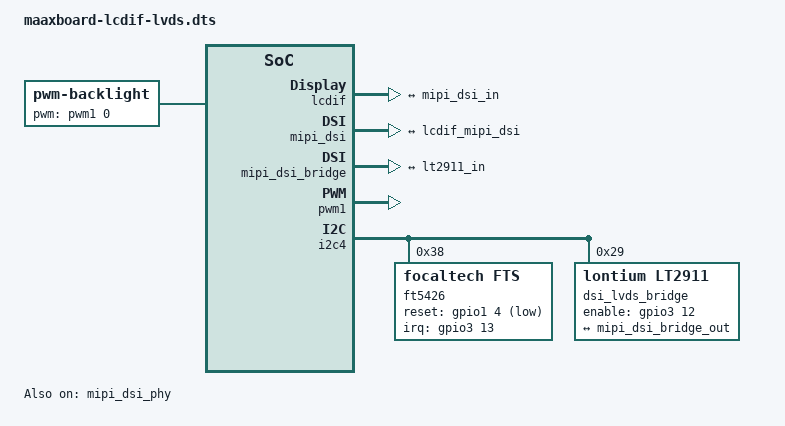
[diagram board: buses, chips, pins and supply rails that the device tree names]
/*
 * Copyright 2019 EMBEST
 *
 * This program is free software; you can redistribute it and/or
 * modify it under the terms of the GNU General Public License
 * as published by the Free Software Foundation; either version 2
 * of the License, or (at your option) any later version.
 *
 * This program is distributed in the hope that it will be useful,
 * but WITHOUT ANY WARRANTY; without even the implied warranty of
 * MERCHANTABILITY or FITNESS FOR A PARTICULAR PURPOSE.  See the
 * GNU General Public License for more details.
 */

#include "maaxboard.dtsi"
#include "maaxboard-extended-gpio.dtsi"

/ {
	display-subsystem {
		status = "disabled";
	};
	sound-hdmi {
		status = "disabled";
	};

	backlight: backlight {
		compatible = "pwm-backlight";
		pwms = <&pwm1 0 40000 0>;
		brightness-levels = <0 8 32 64 96 128 160 192 224 255>;
		default-brightness-level = <8>;
		status = "disabled";
	};
};

&irqsteer_dcss {
	status = "disabled";
};

&dcss {
	status = "disabled";
};

&hdmi {
	status = "disabled";
};

&iomuxc {
	imx8mq-evk {
		pinctrl_mipi_dsi_en: mipi_dsi_en {
			fsl,pins = <
				MX8MQ_IOMUXC_NAND_DATA06_GPIO3_IO12		0x16  /* DSI_EN */
			>;
		};

		pinctrl_ts_ft5426: ft5426_pinsgrp {
			fsl,pins = <
				MX8MQ_IOMUXC_NAND_DATA07_GPIO3_IO13		0x19  /* DSI_TS_nINT */
				MX8MQ_IOMUXC_GPIO1_IO04_GPIO1_IO4		0x19  /* DSI_TS_RST  */
			>;
		};

		pinctrl_pwm1: pwm1_grp {
			fsl,pins = <
				MX8MQ_IOMUXC_GPIO1_IO01_PWM1_OUT		0x06
			>;
		};
	};
};

&lcdif {
	status = "okay";
	max-res = <1024>, <600>;

	assigned-clocks = <&clk IMX8MQ_CLK_LCDIF_PIXEL>,
	 		<&clk IMX8MQ_VIDEO_PLL1_BYPASS>,
			  <&clk IMX8MQ_VIDEO_PLL1_REF_SEL>,
			  <&clk IMX8MQ_VIDEO_PLL1>;
	assigned-clock-parents = <&clk IMX8MQ_VIDEO_PLL1_OUT>,
				 <&clk IMX8MQ_CLK_25M>;
	assigned-clock-rates = <266000000>,
			       <0>,
			       <599999999>;
	
	port@0 {
		lcdif_mipi_dsi: mipi-dsi-endpoint {
			remote-endpoint = <&mipi_dsi_in>;
		};
	};
};

&mipi_dsi_phy {
	status = "okay";
};

&mipi_dsi {
	status = "okay";
	as_bridge;
	sync-pol = <1>;
	pwr-delay = <10>;
	
	assigned-clocks = <&clk IMX8MQ_CLK_DSI_PHY_REF>,
			  <&clk IMX8MQ_CLK_DSI_CORE>,
			  <&clk IMX8MQ_VIDEO_PLL1_REF_SEL>,
			  <&clk IMX8MQ_VIDEO_PLL1>;
	assigned-clock-parents = <&clk IMX8MQ_VIDEO_PLL1_OUT>,
				 <&clk IMX8MQ_SYS1_PLL_266M>,
				 <&clk IMX8MQ_CLK_25M>;
	assigned-clock-rates = <24000000>,
			       <266000000>,
			       <0>,
			       <599999999>;

	port@1 {
		mipi_dsi_in: endpoint {
			remote-endpoint = <&lcdif_mipi_dsi>;
		};
	};
};

&mipi_dsi_bridge{
    status = "okay";
	clock-drop-level = <2>;

	port@1 {
		mipi_dsi_bridge_out: endpoint {
			remote-endpoint = <&lt2911_in>;
		};
	};
};

&pwm1 {
        pinctrl-names = "default";
        pinctrl-0 = <&pinctrl_pwm1>;
		status = "okay";
};

&i2c4 {
	status = "okay";

	ft5426: ft5426_ts@38 {
		compatible = "focaltech,fts";
		reg = <0x38>;
		pinctrl-0 = <&pinctrl_ts_ft5426>;

		interrupt-parent = <&gpio3>;
		interrupts = <13 2>;
		focaltech,reset-gpio = <&gpio1 4 0x01>;
		focaltech,irq-gpio = <&gpio3 13 0x02>;
		focaltech,max-touch-number = <10>;
		focaltech,panel-type = <0x54260002>; /* _FT5426 */
		focaltech,have-key;
		focaltech,key-number = <3>;
		focaltech,keys = <139 102 158>;
		focaltech,key-y-coord = <2000>;
		focaltech,key-x-coords = <200 600 800>;
		status = "disabled";
	};

    dsi_lvds_bridge:lt2911@29 {
		compatible = "lontium,lt2911";
		reg = <0x29>;
		pinctrl-0 = <&pinctrl_mipi_dsi_en>;
		enable-gpio = <&gpio3 12 GPIO_ACTIVE_HIGH>;		
		dsi-lanes = <4>;
		status = "disabled";

		port {
			lt2911_in: endpoint {
				remote-endpoint = <&mipi_dsi_bridge_out>;
			};
		};

		display-timings {
			native-mode = <&timing1>;
			timing1: timing1 {
				clock-frequency = <36000000>;
				hactive = <1024>;
				vactive = <600>;
				hfront-porch = <60>;
				hsync-len = <60>;
				hback-porch = <100>;
				vfront-porch = <2>;
				vsync-len = <5>;
				vback-porch = <10>;
				hsync-active = <0>;
				vsync-active = <0>;
				de-active = <0>;
				pixelclk-active = <0>;
			};
		};
	};
};

&backlight {
	status = "okay";
};

&ft5426 {
	status = "okay";

	focaltech,max-touch-number = <5>;
	focaltech,display-coords =  <0 0 1024 600>;
};

&dsi_lvds_bridge {
	status = "okay";
};
